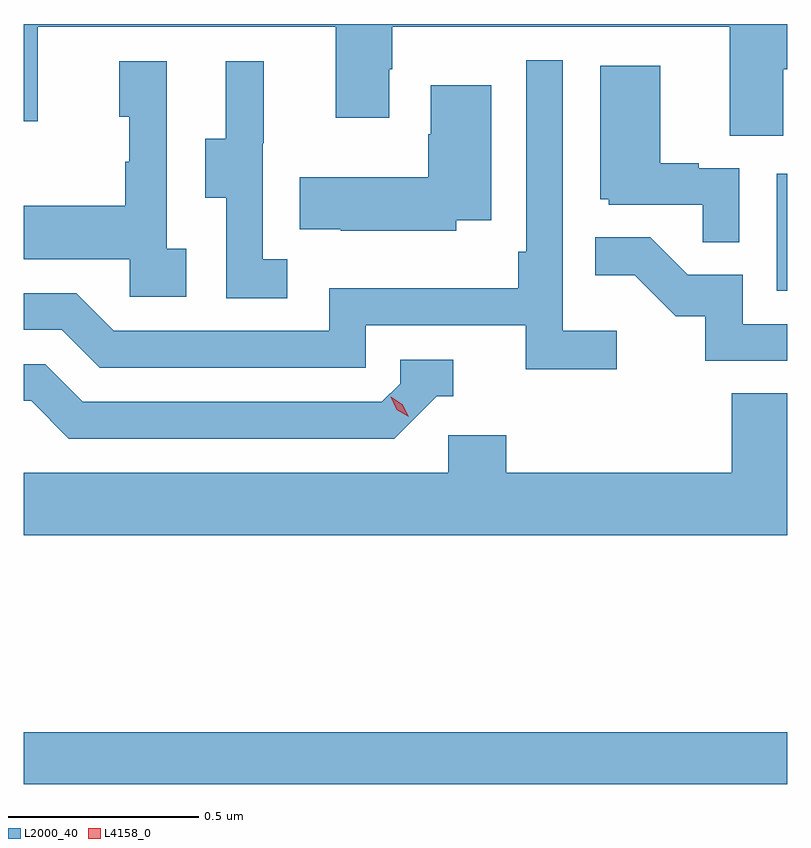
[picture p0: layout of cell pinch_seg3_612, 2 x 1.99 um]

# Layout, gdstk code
import gdstk
lib = gdstk.Library(unit=1e-6, precision=1e-09)
def R(c, l, rs):  # rectangles x0, y0, x1, y1
    for r in rs: c.add(gdstk.rectangle(r[:2], r[2:], *l))
def P(c, l, *ps):  # polygons
    for p in ps: c.add(gdstk.Polygon(p, *l))
L2000_40 = (2000, 40)
L4158_0 = (4158, 0)

pinch_seg3_612 = lib.new_cell('pinch_seg3_612')
R(pinch_seg3_612, L2000_40, [(1017.868,686.944,1019.868,687.08), (1019.84,688.236,1019.868,688.543)])
P(pinch_seg3_612, L2000_40, [(1019.857,688.816),(1019.868,688.816),(1019.868,688.935),(1017.868,688.935),(1017.868,688.68),(1017.905,688.68),(1017.905,688.928),(1018.685,688.928),(1018.685,688.689),(1018.825,688.689),(1018.825,688.817),(1018.833,688.817),(1018.833,688.928),(1019.717,688.928),(1019.717,688.642),(1019.857,688.642)],
  [(1019.422,688.132),(1019.28,688.132),(1019.28,688.84),(1019.184,688.84),(1019.184,688.339),(1019.164,688.339),(1019.164,688.243),(1018.668,688.243),(1018.668,688.131),(1018.104,688.131),(1018.005,688.23),(1017.868,688.23),(1017.868,688.134),(1017.968,688.134),(1018.067,688.035),(1018.764,688.035),(1018.764,688.146),(1019.183,688.146),(1019.183,688.03),(1019.422,688.03)],
  [(1018.294,688.346),(1018.242,688.346),(1018.242,688.837),(1018.118,688.837),(1018.118,688.692),(1018.144,688.692),(1018.144,688.574),(1018.134,688.574),(1018.134,688.459),(1017.868,688.459),(1017.868,688.319),(1018.146,688.319),(1018.146,688.221),(1018.294,688.221)],
  [(1018.558,688.319),(1018.494,688.319),(1018.494,688.623),(1018.496,688.623),(1018.496,688.837),(1018.397,688.837),(1018.397,688.635),(1018.343,688.635),(1018.343,688.48),(1018.398,688.48),(1018.398,688.216),(1018.558,688.216)],
  [(1019.742,688.557),(1019.636,688.557),(1019.636,688.57),(1019.536,688.57),(1019.536,688.825),(1019.378,688.825),(1019.378,688.476),(1019.4,688.476),(1019.4,688.461),(1019.647,688.461),(1019.647,688.363),(1019.742,688.363)],
  [(1019.001,688.421),(1019.092,688.421),(1019.092,688.774),(1018.934,688.774),(1018.934,688.646),(1018.927,688.646),(1018.927,688.534),(1018.591,688.534),(1018.591,688.397),(1018.699,688.397),(1018.699,688.394),(1019.001,688.394)],
  [(1019.868,688.149),(1019.751,688.149),(1019.751,688.278),(1019.607,688.278),(1019.509,688.376),(1019.365,688.376),(1019.365,688.277),(1019.469,688.277),(1019.576,688.17),(1019.653,688.17),(1019.653,688.053),(1019.868,688.053)],
  [(1018.95,687.96),(1018.993,687.96),(1018.993,688.056),(1018.854,688.056),(1018.854,687.993),(1018.806,687.945),(1018.023,687.945),(1017.924,688.044),(1017.868,688.044),(1017.868,687.948),(1017.887,687.948),(1017.986,687.849),(1018.839,687.849)],
  [(1019.868,687.968),(1019.723,687.968),(1019.723,687.76),(1019.132,687.76),(1019.132,687.858),(1018.98,687.858),(1018.98,687.76),(1017.868,687.76),(1017.868,687.596),(1019.868,687.596)])
P(pinch_seg3_612, L4158_0, [(1018.876,687.906),(1018.845,687.925),(1018.829,687.958),(1018.829,687.958),(1018.83,687.958),(1018.86,687.939),(1018.876,687.906),(1018.876,687.906)])

lib.write_gds('pinch_seg3_612.gds')
